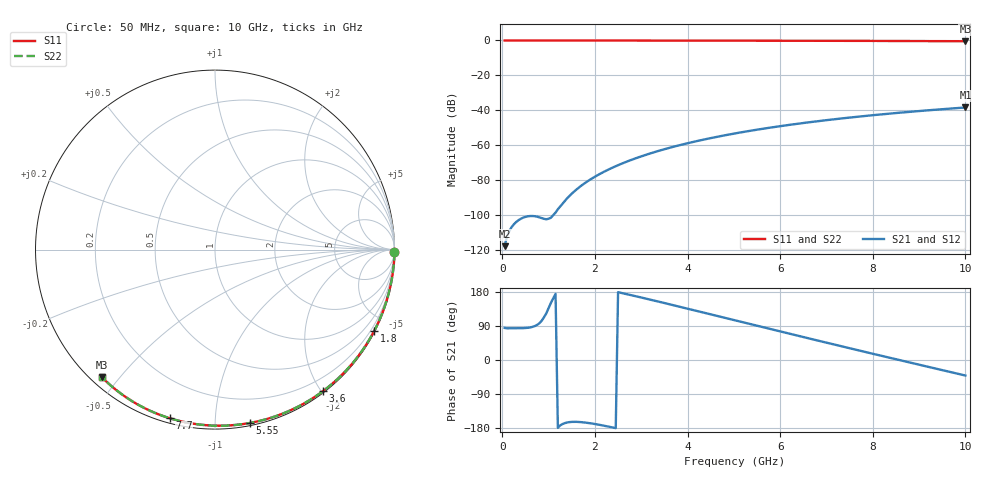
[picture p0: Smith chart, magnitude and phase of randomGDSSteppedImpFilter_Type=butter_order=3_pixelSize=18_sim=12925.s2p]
! freq	dB(S11)	phase(S11)	dB(S12)	phase(S12)
!  dB(S21)	phase(S21)	dB(S22)	phase(S22)
!S-par simulation data
#  GHz  S  DB  R 50
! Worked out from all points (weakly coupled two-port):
!   200 points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, 50 MHz to 10 GHz, reference 50 ohm
!   highest |S21| = -38.39 dB at 10 GHz (marker M1); lowest = -117.8 dB at 50 MHz (marker M2)
!   lowest |S11| = -0.4 dB at 10 GHz (marker M3), VSWR 39.09, Z = 1.54 - j22.5 ohm
!   |S11| at or under -10 dB: nowhere
!   |S22| runs from -0.4 to 0.0 dB; largest |S21 - S12| = 0
!   S11 on the Smith chart (normalised r, x): 50 MHz: open; 1.8 GHz: 0.04, -4.17; 3.6 GHz: 0.02, -2.02; 5.55 GHz: 0.02, -1.22; 7.7 GHz: 0.02, -0.77; 10 GHz: 0.03, -0.45
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0.05  -0.00 -0.8  -117.80 84.6  -117.80 84.6  -0.00 -0.8
0.9  -0.02 -13.6  -102.15 112.7  -102.15 112.7  -0.02 -13.6
1.75  -0.03 -26.2  -82.30 -164.5  -82.30 -164.5  -0.03 -26.2
1.8  -0.03 -26.9  -81.37 -165.2  -81.37 -165.2  -0.03 -26.9
1.85  -0.04 -27.7  -80.48 -166.1  -80.48 -166.1  -0.04 -27.7
1.9  -0.04 -28.4  -79.63 -166.9  -79.63 -166.9  -0.04 -28.4
2.05  -0.04 -30.6  -77.26 -170.0  -77.26 -170.0  -0.04 -30.6
2.25  -0.04 -33.5  -74.47 -174.7  -74.47 -174.7  -0.04 -33.5
2.45  -0.05 -36.4  -72.00 -179.8  -72.00 -179.8  -0.05 -36.4
2.65  -0.05 -39.3  -69.78 174.8  -69.78 174.8  -0.05 -39.3
3  -0.06 -44.3  -66.37 165.0  -66.37 165.0  -0.06 -44.3
3.4  -0.07 -49.9  -63.04 153.3  -63.04 153.3  -0.07 -49.9
3.6  -0.07 -52.7  -61.55 147.4  -61.55 147.4  -0.07 -52.7
4.3  -0.09 -62.3  -57.04 126.5  -57.04 126.5  -0.09 -62.3
5.05  -0.11 -72.2  -53.12 103.9  -53.12 103.9  -0.11 -72.2
5.55  -0.13 -78.7  -50.88 88.9  -50.88 88.9  -0.13 -78.7
6.1  -0.15 -85.6  -48.71 72.4  -48.71 72.4  -0.15 -85.6
6.7  -0.18 -93.1  -46.60 54.6  -46.60 54.6  -0.18 -93.1
7.7  -0.24 -105.1  -43.60 25.2  -43.60 25.2  -0.24 -105.1
8.35  -0.29 -112.7  -41.92 6.3  -41.92 6.3  -0.29 -112.7
9.15  -0.36 -121.8  -40.09 -16.7  -40.09 -16.7  -0.36 -121.8
10  -0.44 -131.4  -38.39 -41.0  -38.39 -41.0  -0.44 -131.4
